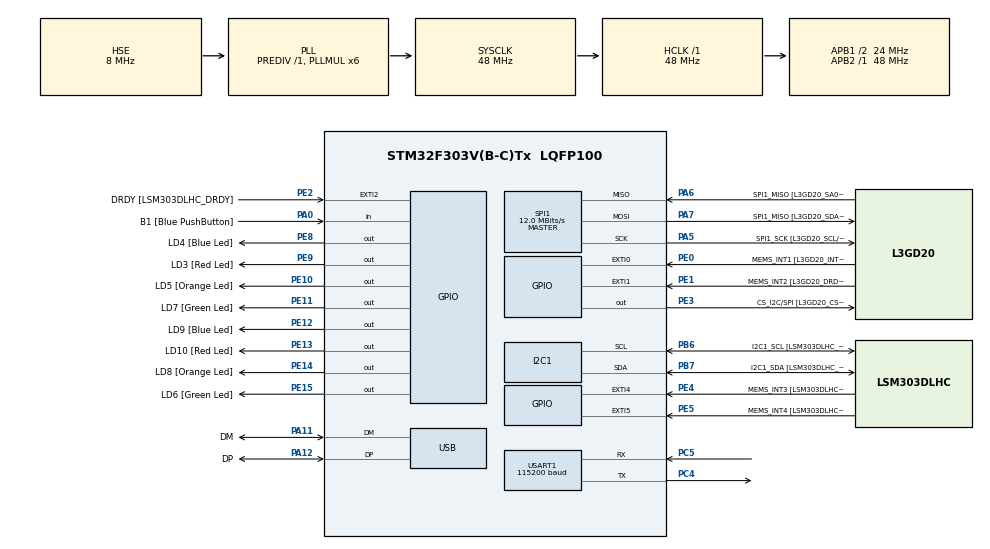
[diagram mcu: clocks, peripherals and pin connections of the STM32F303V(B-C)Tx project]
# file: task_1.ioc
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I2C1.Timing=0x2000090E
I2C1.Timing-I2C=0x2000090E
Mcu.Family=STM32F3
Mcu.Name=STM32F303V(B-C)Tx
Mcu.Package=LQFP100
NVIC.PriorityGroup=NVIC_PRIORITYGROUP_0
NVIC.USB_LP_CAN_RX0_IRQn=true\:0\:0\:false\:false\:true\:false\:true\:true
PA0.GPIO_Label=B1 [Blue PushButton]
PA0.Signal=GPIO_Input
PA11.GPIO_Label=DM
PA11.Mode=Device
PA11.Signal=USB_DM
PA12.GPIO_Label=DP
PA12.Mode=Device
PA12.Signal=USB_DP
PA13.GPIO_Label=SWDIO
PA13.Mode=Serial_Wire
PA13.Signal=SYS_JTMS-SWDIO
PA14.GPIO_Label=SWCLK
PA14.Mode=Serial_Wire
PA14.Signal=SYS_JTCK-SWCLK
PA5.GPIO_Label=SPI1_SCK [L3GD20_SCL/SPC]
PA5.Mode=Full_Duplex_Master
PA5.Signal=SPI1_SCK
PA6.GPIO_Label=SPI1_MISO [L3GD20_SA0/SDO]
PA6.Mode=Full_Duplex_Master
PA6.Signal=SPI1_MISO
PA7.GPIO_Label=SPI1_MISO [L3GD20_SDA/SDI/SDO]
PA7.Mode=Full_Duplex_Master
PA7.Signal=SPI1_MOSI
PB3.GPIO_Label=SWO
PB3.Signal=SYS_JTDO-TRACESWO
PB6.GPIO_Label=I2C1_SCL [LSM303DLHC_SCL]
PB6.GPIO_Pu=GPIO_PULLUP
PB6.Mode=I2C
PB6.Signal=I2C1_SCL
PB7.GPIO_Label=I2C1_SDA [LSM303DLHC_SDA]
PB7.GPIO_Pu=GPIO_PULLUP
PB7.Mode=I2C
PB7.Signal=I2C1_SDA
PC14-OSC32_IN.GPIO_Label=OSC32_IN
PC14-OSC32_IN.Signal=RCC_OSC32_IN
PC15-OSC32_OUT.GPIO_Label=OSC32_OUT
PC15-OSC32_OUT.Signal=RCC_OSC32_OUT
PC4.Mode=Asynchronous
PC4.Signal=USART1_TX
PC5.Mode=Asynchronous
PC5.Signal=USART1_RX
PE0.GPIO_Label=MEMS_INT1 [L3GD20_INT1]
PE0.GPIO_ModeDefaultEXTI=GPIO_MODE_EVT_RISING
PE0.Signal=GPXTI0
PE1.GPIO_Label=MEMS_INT2 [L3GD20_DRDY/INT2]
PE1.GPIO_ModeDefaultEXTI=GPIO_MODE_EVT_RISING
PE1.Signal=GPXTI1
PE10.GPIO_Label=LD5 [Orange Led]
PE10.Signal=GPIO_Output
PE11.GPIO_Label=LD7 [Green Led]
PE11.Signal=GPIO_Output
PE12.GPIO_Label=LD9 [Blue Led]
PE12.Signal=GPIO_Output
PE13.GPIO_Label=LD10 [Red Led]
PE13.Signal=GPIO_Output
PE14.GPIO_Label=LD8 [Orange Led]
PE14.Signal=GPIO_Output
PE15.GPIO_Label=LD6 [Green Led]
PE15.Signal=GPIO_Output
PE2.GPIO_Label=DRDY [LSM303DLHC_DRDY]
PE2.GPIO_ModeDefaultEXTI=GPIO_MODE_EVT_RISING
PE2.Signal=GPXTI2
PE3.GPIO_Label=CS_I2C/SPI [L3GD20_CS_I2C/SPI]
PE3.Signal=GPIO_Output
PE4.GPIO_Label=MEMS_INT3 [LSM303DLHC_INT1]
PE4.GPIO_ModeDefaultEXTI=GPIO_MODE_EVT_RISING
PE4.Signal=GPXTI4
PE5.GPIO_Label=MEMS_INT4 [LSM303DLHC_INT2]
PE5.GPIO_ModeDefaultEXTI=GPIO_MODE_EVT_RISING
PE5.Signal=GPXTI5
PE8.GPIO_Label=LD4 [Blue Led]
PE8.Signal=GPIO_Output
PE9.GPIO_Label=LD3 [Red Led]
PE9.Signal=GPIO_Output
PF0-OSC_IN.GPIO_Label=OSC_IN
PF0-OSC_IN.Mode=HSE-External-Clock-Source
PF0-OSC_IN.Signal=RCC_OSC_IN
PF1-OSC_OUT.GPIO_Label=OSC_OUT
PF1-OSC_OUT.Signal=RCC_OSC_OUT
ProjectManager.HeapSize=0x200
ProjectManager.StackSize=0x400
ProjectManager.TargetToolchain=CMake
RCC.AHBFreq_Value=48000000
RCC.APB1CLKDivider=RCC_HCLK_DIV2
RCC.APB1Freq_Value=24000000
RCC.APB1TimFreq_Value=48000000
RCC.APB2Freq_Value=48000000
RCC.APB2TimFreq_Value=48000000
RCC.CortexFreq_Value=48000000
RCC.HCLKFreq_Value=48000000
RCC.HSE_VALUE=8000000
RCC.HSI_VALUE=8000000
RCC.LSE_VALUE=32768
RCC.PLLMUL=RCC_PLL_MUL6
RCC.SYSCLKFreq_VALUE=48000000
RCC.SYSCLKSourceVirtual=RCC_SYSCLKSOURCE_PLLCLK
RCC.USBFreq_Value=48000000
SPI1.BaudRatePrescaler=SPI_BAUDRATEPRESCALER_4
SPI1.BaudRatePrescaler-Full_Duplex_Master=SPI_BAUDRATEPRESCALER_2
SPI1.CalculateBaudRate=12.0 MBits/s
SPI1.CalculateBaudRate-Full_Duplex_Master=24.0 MBits/s
SPI1.Direction=SPI_DIRECTION_2LINES
SPI1.Mode=SPI_MODE_MASTER
SPI1.Mode-Full_Duplex_Master=SPI_MODE_MASTER
SPI1.VirtualType=VM_MASTER
USART1.BaudRate=115200
USART1.VirtualMode-Asynchronous=VM_ASYNC
USB_DEVICE.CLASS_NAME_FS=CDC
USB_DEVICE.VirtualMode=Cdc
USB_DEVICE.VirtualModeFS=Cdc_FS
VP_USB_DEVICE_VS_USB_DEVICE_CDC_FS.Mode=CDC_FS
board=STM32F3DISCOVERY

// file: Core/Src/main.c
/* USER CODE BEGIN Header */
/**
  ******************************************************************************
  * @file           : main.c
  * @brief          : Main program body
  ******************************************************************************
  * @attention
  *
  * Copyright (c) 2026 STMicroelectronics.
  * All rights reserved.
  *
  * This software is licensed under terms that can be found in the LICENSE file
  * in the root directory of this software component.
  * If no LICENSE file comes with this software, it is provided AS-IS.
  *
  ******************************************************************************
  */
/* USER CODE END Header */
#include "main.h"
#include "stm32f3xx_hal.h"
#include "stm32f3xx_hal_uart.h"
#include "usb_device.h"
#include <stdio.h>
#include <stdlib.h> // Required for malloc, calloc, and free
#include <string.h>
#include <sys/_intsup.h>

I2C_HandleTypeDef hi2c1;

SPI_HandleTypeDef hspi1;

UART_HandleTypeDef huart1;

void SystemClock_Config(void);
static void MX_GPIO_Init(void);
static void MX_I2C1_Init(void);
static void MX_SPI1_Init(void);
static void MX_USART1_UART_Init(void);

/* USER CODE BEGIN 0 */

#include <stdio.h>
#include <stdlib.h> // Required for malloc, calloc, and free
#include <string.h>

extern UART_HandleTypeDef huart1;

void Task1_MemoryManagement(void) {
    const int n = 10;
    char msg[100];
    int* malloc_arr = (int*)malloc(n * sizeof(int));

    // Check if allocation was successful
    char* newline = "\r\n";
    char* var = "Malloc failed!";
    if (malloc_arr == NULL) {
        HAL_UART_Transmit(&huart1, (uint8_t*)var, strlen(var), 100);
        HAL_UART_Transmit(&huart1, (uint8_t*)newline, strlen(newline), 100);
    } else {
        for (int i = 0; i < n; i++) {
            malloc_arr[i] = i * 2;
        }
    }
    char* var2 = "Calloc failed!";
    int* calloc_arr = (int*)calloc(n, sizeof(int));
    if (calloc_arr == NULL) {
        HAL_UART_Transmit(&huart1, (uint8_t*)var2, strlen(var2), 100);
        HAL_UART_Transmit(&huart1, (uint8_t*)newline, strlen(newline), 100);
    } else {
        for (int i = 0; i < n; i++) {
            calloc_arr[i] = i + 1;
        }
    }

    char* header = "Memory Allocation Results:\r\n";
    HAL_UART_Transmit(&huart1, (uint8_t*)header, strlen(header), 100);
    HAL_UART_Transmit(&huart1, (uint8_t*)"Malloc Array (i*2): ", 20, 100);
    for (int i = 0; i < n; i++) {
        sprintf(msg, "%d ", malloc_arr[i]);
        HAL_UART_Transmit(&huart1, (uint8_t*)msg, strlen(msg), 10);
    }

    HAL_UART_Transmit(&huart1, (uint8_t*)"\r\nCalloc Array (i+1): ", 22, 10);
    for (int i = 0; i < n; i++) {
        sprintf(msg, "%d ", calloc_arr[i]);
        HAL_UART_Transmit(&huart1, (uint8_t*)msg, strlen(msg), 10);
    }
    free(malloc_arr);
    free(calloc_arr);
    malloc_arr = NULL;
    calloc_arr = NULL;
    HAL_UART_Transmit(&huart1, (uint8_t*)"\r\nMemory freed and pointers cleared.\r\n", 38, 10);
}
/* USER CODE END 0 */

int main(void)
{

  /* MCU Configuration--------------------------------------------------------*/

  /* Reset of all peripherals, Initializes the Flash interface and the Systick. */

  HAL_Init();

  /* Configure the system clock */
  SystemClock_Config();

  /* Initialize all configured peripherals */
  MX_GPIO_Init();
  MX_I2C1_Init();
  MX_SPI1_Init();
  MX_USART1_UART_Init();
  MX_USB_DEVICE_Init();
  /* USER CODE BEGIN 2 */
  Task1_MemoryManagement();
  /* USER CODE END 2 */

  /* Infinite loop */
  while (1)
  {
  }
}

void SystemClock_Config(void)
{
  RCC_OscInitTypeDef RCC_OscInitStruct = {0};
  RCC_ClkInitTypeDef RCC_ClkInitStruct = {0};
  RCC_PeriphCLKInitTypeDef PeriphClkInit = {0};

  /** Initializes the RCC Oscillators according to the specified parameters
  * in the RCC_OscInitTypeDef structure.
  */
  RCC_OscInitStruct.OscillatorType = RCC_OSCILLATORTYPE_HSI|RCC_OSCILLATORTYPE_HSE;
  RCC_OscInitStruct.HSEState = RCC_HSE_BYPASS;
  RCC_OscInitStruct.HSEPredivValue = RCC_HSE_PREDIV_DIV1;
  RCC_OscInitStruct.HSIState = RCC_HSI_ON;
  RCC_OscInitStruct.HSICalibrationValue = RCC_HSICALIBRATION_DEFAULT;
  RCC_OscInitStruct.PLL.PLLState = RCC_PLL_ON;
  RCC_OscInitStruct.PLL.PLLSource = RCC_PLLSOURCE_HSE;
  RCC_OscInitStruct.PLL.PLLMUL = RCC_PLL_MUL6;
  if (HAL_RCC_OscConfig(&RCC_OscInitStruct) != HAL_OK)
  {
    Error_Handler();
  }

  /** Initializes the CPU, AHB and APB buses clocks
  */
  RCC_ClkInitStruct.ClockType = RCC_CLOCKTYPE_HCLK|RCC_CLOCKTYPE_SYSCLK
                              |RCC_CLOCKTYPE_PCLK1|RCC_CLOCKTYPE_PCLK2;
  RCC_ClkInitStruct.SYSCLKSource = RCC_SYSCLKSOURCE_PLLCLK;
  RCC_ClkInitStruct.AHBCLKDivider = RCC_SYSCLK_DIV1;
  RCC_ClkInitStruct.APB1CLKDivider = RCC_HCLK_DIV2;
  RCC_ClkInitStruct.APB2CLKDivider = RCC_HCLK_DIV1;

  if (HAL_RCC_ClockConfig(&RCC_ClkInitStruct, FLASH_LATENCY_1) != HAL_OK)
  {
    Error_Handler();
  }
  PeriphClkInit.PeriphClockSelection = RCC_PERIPHCLK_USB|RCC_PERIPHCLK_USART1
                              |RCC_PERIPHCLK_I2C1;
  PeriphClkInit.Usart1ClockSelection = RCC_USART1CLKSOURCE_PCLK2;
  PeriphClkInit.I2c1ClockSelection = RCC_I2C1CLKSOURCE_HSI;
  PeriphClkInit.USBClockSelection = RCC_USBCLKSOURCE_PLL;
  if (HAL_RCCEx_PeriphCLKConfig(&PeriphClkInit) != HAL_OK)
  {
    Error_Handler();
  }
}

static void MX_I2C1_Init(void)
{

  hi2c1.Instance = I2C1;
  hi2c1.Init.Timing = 0x2000090E;
  hi2c1.Init.OwnAddress1 = 0;
  hi2c1.Init.AddressingMode = I2C_ADDRESSINGMODE_7BIT;
  hi2c1.Init.DualAddressMode = I2C_DUALADDRESS_DISABLE;
  hi2c1.Init.OwnAddress2 = 0;
  hi2c1.Init.OwnAddress2Masks = I2C_OA2_NOMASK;
  hi2c1.Init.GeneralCallMode = I2C_GENERALCALL_DISABLE;
  hi2c1.Init.NoStretchMode = I2C_NOSTRETCH_DISABLE;
  if (HAL_I2C_Init(&hi2c1) != HAL_OK)
  {
    Error_Handler();
  }

  /** Configure Analogue filter
  */
  if (HAL_I2CEx_ConfigAnalogFilter(&hi2c1, I2C_ANALOGFILTER_ENABLE) != HAL_OK)
  {
    Error_Handler();
  }

  /** Configure Digital filter
  */
  if (HAL_I2CEx_ConfigDigitalFilter(&hi2c1, 0) != HAL_OK)
  {
    Error_Handler();
  }

}

static void MX_SPI1_Init(void)
{

  /* SPI1 parameter configuration*/
  hspi1.Instance = SPI1;
  hspi1.Init.Mode = SPI_MODE_MASTER;
  hspi1.Init.Direction = SPI_DIRECTION_2LINES;
  hspi1.Init.DataSize = SPI_DATASIZE_4BIT;
  hspi1.Init.CLKPolarity = SPI_POLARITY_LOW;
  hspi1.Init.CLKPhase = SPI_PHASE_1EDGE;
  hspi1.Init.NSS = SPI_NSS_SOFT;
  hspi1.Init.BaudRatePrescaler = SPI_BAUDRATEPRESCALER_4;
  hspi1.Init.FirstBit = SPI_FIRSTBIT_MSB;
  hspi1.Init.TIMode = SPI_TIMODE_DISABLE;
  hspi1.Init.CRCCalculation = SPI_CRCCALCULATION_DISABLE;
  hspi1.Init.CRCPolynomial = 7;
  hspi1.Init.CRCLength = SPI_CRC_LENGTH_DATASIZE;
  hspi1.Init.NSSPMode = SPI_NSS_PULSE_ENABLE;
  if (HAL_SPI_Init(&hspi1) != HAL_OK)
  {
    Error_Handler();
  }

}

static void MX_USART1_UART_Init(void)
{

  huart1.Instance = USART1;
  huart1.Init.BaudRate = 115200;
  huart1.Init.WordLength = UART_WORDLENGTH_8B;
  huart1.Init.StopBits = UART_STOPBITS_1;
  huart1.Init.Parity = UART_PARITY_NONE;
  huart1.Init.Mode = UART_MODE_TX_RX;
  huart1.Init.HwFlowCtl = UART_HWCONTROL_NONE;
  huart1.Init.OverSampling = UART_OVERSAMPLING_16;
  huart1.Init.OneBitSampling = UART_ONE_BIT_SAMPLE_DISABLE;
  huart1.AdvancedInit.AdvFeatureInit = UART_ADVFEATURE_NO_INIT;
  if (HAL_UART_Init(&huart1) != HAL_OK)
  {
    Error_Handler();
  }

}

static void MX_GPIO_Init(void)
{
  GPIO_InitTypeDef GPIO_InitStruct = {0};

  /* GPIO Ports Clock Enable */
  __HAL_RCC_GPIOE_CLK_ENABLE();
  __HAL_RCC_GPIOC_CLK_ENABLE();
  __HAL_RCC_GPIOF_CLK_ENABLE();
  __HAL_RCC_GPIOA_CLK_ENABLE();
  __HAL_RCC_GPIOB_CLK_ENABLE();

  /*Configure GPIO pin Output Level */
  HAL_GPIO_WritePin(GPIOE, CS_I2C_SPI_Pin|LD4_Pin|LD3_Pin|LD5_Pin
                          |LD7_Pin|LD9_Pin|LD10_Pin|LD8_Pin
                          |LD6_Pin, GPIO_PIN_RESET);

  /*Configure GPIO pins : DRDY_Pin MEMS_INT3_Pin MEMS_INT4_Pin MEMS_INT1_Pin
                           MEMS_INT2_Pin */
  GPIO_InitStruct.Pin = DRDY_Pin|MEMS_INT3_Pin|MEMS_INT4_Pin|MEMS_INT1_Pin
                          |MEMS_INT2_Pin;
  GPIO_InitStruct.Mode = GPIO_MODE_EVT_RISING;
  GPIO_InitStruct.Pull = GPIO_NOPULL;
  HAL_GPIO_Init(GPIOE, &GPIO_InitStruct);

  /*Configure GPIO pins : CS_I2C_SPI_Pin LD4_Pin LD3_Pin LD5_Pin
                           LD7_Pin LD9_Pin LD10_Pin LD8_Pin
                           LD6_Pin */
  GPIO_InitStruct.Pin = CS_I2C_SPI_Pin|LD4_Pin|LD3_Pin|LD5_Pin
                          |LD7_Pin|LD9_Pin|LD10_Pin|LD8_Pin
                          |LD6_Pin;
  GPIO_InitStruct.Mode = GPIO_MODE_OUTPUT_PP;
  GPIO_InitStruct.Pull = GPIO_NOPULL;
  GPIO_InitStruct.Speed = GPIO_SPEED_FREQ_LOW;
  HAL_GPIO_Init(GPIOE, &GPIO_InitStruct);

  /*Configure GPIO pin : B1_Pin */
  GPIO_InitStruct.Pin = B1_Pin;
  GPIO_InitStruct.Mode = GPIO_MODE_INPUT;
  GPIO_InitStruct.Pull = GPIO_NOPULL;
  HAL_GPIO_Init(B1_GPIO_Port, &GPIO_InitStruct);

}

void Error_Handler(void)
{
  __disable_irq();
  while (1)
  {
  }
}
